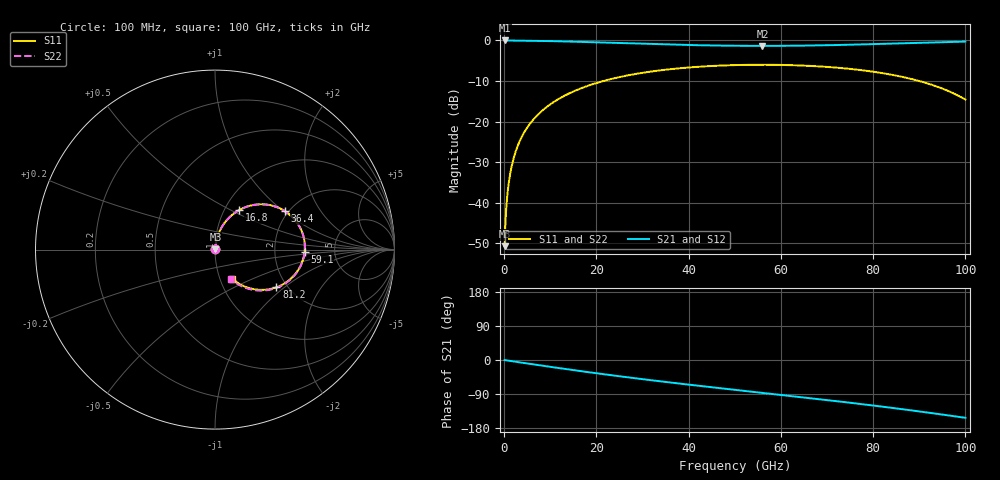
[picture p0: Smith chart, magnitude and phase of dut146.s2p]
! Touchstone file exported from HFSS 2026.1.0
!  File:  C:/ffzhzh/LocalFiles/Ansys_Project_Files/temp_train_RDL_146_1783499823_41296.aedt
!  Generated:  04:38:10 PM Jul  8, 2026
!  Design:  RDL
!  Project:  temp_train_RDL_146_1783499823_41296
! Variables:
!  h_bsmrdl = 2um
!  h_ox = 20um
!  h_rdl = 5um
!  h_sub = 80um
!  h_tmrdl = 3.23um
!  h_tsv = 80um
!  h_via = 3um
!  l_bsmrdl = 300um
!  l_sub = 903um
!  l_tmrdl = 503um
!  m_sub = 200um
!  pitch = 54.54um
!  r_tsv = 6um
!  s_tmrdl = 10um
!  w_bsmrdl = 18um
!  w_sub = 500um
!  w_tmrdl = 28.85um
!  x_tsv_center1 = 517.425um
!  x_tsv_center2 = 835.425um
!  x_tsv_center3 = 1367.275um
!  x_tsv_center4 = 1685.275um
!  x_tsv_center5 = 2217.125um
!  x_tsv_center6 = 2535.125um
# GHz S MA R 50.000000
! Terminal data exported
! Port[1] = TM_RDL1_1_T1
! Port[2] = TM_RDL1_1_T2
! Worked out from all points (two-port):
!   1000 points, 100 MHz to 100 GHz, reference 50 ohm
!   highest |S21| = -0.02 dB at 100 MHz (marker M1); lowest = -1.4 dB at 56 GHz (marker M2)
!   |S21| within 3 dB of the highest: start of sweep to end of sweep
!   lowest |S11| = -50.7 dB at 100 MHz (marker M3), VSWR 1.01, Z = 50.2 + j0.194 ohm
!   |S11| at or under -10 dB: start of sweep to 21.57 GHz; 89.96 GHz to end of sweep
!   |S22| runs from -50.7 to -6.0 dB; largest |S21 - S12| = 2.4e-14
!   S11 on the Smith chart (normalised r, x): 100 MHz: 1.00, +0.00; 16.8 GHz: 1.17, +0.55; 36.4 GHz: 1.91, +1.02; 59.1 GHz: 2.99, -0.09; 81.2 GHz: 1.76, -0.88; 100 GHz: 1.14, -0.38
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0.1  0.002915 41.4  0.9978 -0.2  0.9978 -0.2  0.002915 41.4
! Gamma 0 0 0 0
! Port Impedance 50 0 50 0
0.9  0.01591 77.9  0.997 -1.7  0.997 -1.7  0.01591 77.9
1.2  0.02091 79.6  0.9968 -2.2  0.9968 -2.2  0.02091 79.6
1.5  0.02594 80.5  0.9966 -2.8  0.9966 -2.8  0.02594 80.5
2  0.03436 81.0  0.9962 -3.7  0.9962 -3.7  0.03436 81.0
2.5  0.04277 81.0  0.9958 -4.6  0.9958 -4.6  0.04277 81.0
4  0.0678 79.4  0.9939 -7.3  0.9939 -7.3  0.06781 79.4
6.1  0.1021 76.3  0.9901 -11.1  0.9901 -11.1  0.1021 76.2
8.9  0.1462 71.6  0.9834 -16.1  0.9834 -16.1  0.1462 71.6
12.5  0.1997 65.6  0.9728 -22.4  0.9728 -22.4  0.1997 65.6
16.8  0.2584 58.6  0.9579 -29.7  0.9579 -29.7  0.2584 58.5
24.2  0.3447 46.9  0.9296 -41.7  0.9296 -41.7  0.3448 46.8
33.4  0.4245 33.3  0.8958 -55.6  0.8958 -55.6  0.4246 33.1
36.4  0.4441 29.0  0.8863 -59.9  0.8863 -59.9  0.4442 28.9
50.1  0.4962 10.5  0.8584 -78.8  0.8584 -78.8  0.4963 10.3
56  0.501 2.8  0.8555 -86.7  0.8555 -86.7  0.5012 2.5
59.1  0.4995 -1.3  0.8563 -90.8  0.8563 -90.8  0.4996 -1.6
66.7  0.4835 -11.4  0.865 -101.1  0.865 -101.1  0.4837 -11.8
81.2  0.4016 -31.5  0.9038 -121.9  0.9038 -121.9  0.4018 -32.2
83.4  0.3827 -34.8  0.9114 -125.3  0.9114 -125.3  0.3829 -35.5
92.5  0.2863 -48.4  0.944 -139.8  0.944 -139.8  0.2865 -49.6
100  0.1868 -59.7  0.9664 -152.6  0.9664 -152.6  0.1868 -61.5
